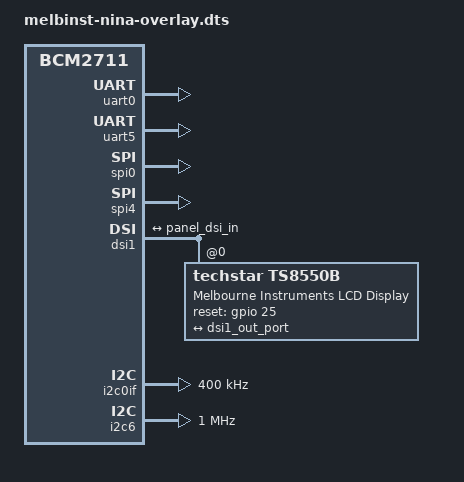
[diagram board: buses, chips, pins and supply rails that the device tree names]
/dts-v1/;
/plugin/;

#include <dt-bindings/pinctrl/bcm2835.h>
#include <dt-bindings/clock/bcm2835.h>

/ {
    compatible = "bcrm,bcm2711";

        /* GPIO */
        fragment@0 {
                target = <&gpio>;
                __overlay__ {
                        pinctrl-names = "default";
                        pinctrl-0 = <&spi4_cs_pins &spi4_pins &fpga_pins &analog_input_pins>;                      
                        spi0_cs_pins: spi0_cs_pins {
                                brcm,pins = <8>;
                                brcm,function = <1>;    // GPIO out
                        };
                        spi4_cs_pins: spi4_cs_pins {
                                brcm,pins = <4>;
                                brcm,function = <1>;    // GPIO out
                        };
                        spi4_pins: spi4_pins {
                                brcm,pins = <5 6 7>;
                                brcm,function = <BCM2835_FSEL_ALT3>;
                        };                        
                        lcd_panel_pins: lcd_panel_pins {
                                pins = "gpio25";
                                function = "alt1";
                                bias-pull-up;
                                output-low;
                        };                      
                        fpga_pins: fpga_pins {
                                brcm,pins = <2 3 16 17 18 20 21 24>;
                                brcm,function = <1 1 1 1 0 0 0 1>;
                                brcm,pull = <0 0 0 0 1 2 2 0>;
                        };
                        analog_input_pins: analog_input_pins {
                                brcm,pins = <26>;
                                brcm,function = <0>;    // GPIO in
                        };
                };                                
        };

        /* UART 0 - used for debugging */
        fragment@1 {
                target = <&uart1_pins>;
                __dormant__ {
                        brcm,pins = <14 15>;
                        brcm,function = <4>;    // ALT0
                        brcm,pull = <0 2>;
                };
        };	
        fragment@2 {
                target = <&uart0>;
                __overlay__ {
                        pinctrl-names = "default";
                        pinctrl-0 = <&uart0_pins>;
                        status = "okay";
                };
        };

        /* UART 5 - MIDI */
        fragment@3 {
                target = <&uart5_pins>;
                __overlay__ {
                        brcm,pins = <12 13>;
                        brcm,pull = <0 0>;
                };
        };	
        fragment@4 {
                target = <&uart5>;
                __overlay__ {
                        pinctrl-names = "default";
                        pinctrl-0 = <&uart5_pins>;
                        status = "okay";
                };
        };
        fragment@5 {
                target-path = "/clocks";
                __overlay__ {
                        midi_clk: midi_clk {
                        compatible = "fixed-clock";
                        #clock-cells = <0>;
                        clock-output-names = "uart5_pclk";
                        clock-frequency = <58982400>;
                        };
                };
        };
        fragment@6 {
                target = <&uart5>;
                __overlay__ {
                        clocks = <&midi_clk>,
                        <&clocks BCM2835_CLOCK_VPU>;
                        dmas = <&dma 21>, <&dma 22>;
                        dma-names = "tx", "rx";
                };
        };         

        /* SPI0 */
	fragment@7 {
		target = <&spi0_cs_pins>;
		__overlay__ {
			brcm,pins = <8>;
		};
	};
        fragment@8 {
                target = <&spi0>;
                __overlay__ {
                        compatible = "brcm,rtdm-bcm2835-spi";
                        id-spi0;
                        pinctrl-0 = <&spi0_pins &spi0_cs_pins>;
                        cs-gpios = <&gpio 8 1>;
                        status = "okay";
                };
        };

        /* SPI4 */
	fragment@9 {
		target = <&spi4_cs_pins>;
		__overlay__ {
			brcm,pins = <4>;
		};
	};        
        fragment@10 {
                target = <&spi4>;
                __overlay__ {
                        compatible = "brcm,rtdm-bcm2835-spi";
                        id-spi4;
                        pinctrl-0 = <&spi4_pins &spi4_cs_pins>;
                        cs-gpios = <&gpio 4 1>;
                        dmas = <&dma 19>, <&dma 20>;
                        dma-names = "tx", "rx";
                        status = "okay";
                };
        };         

        /* DSI LCD */
        fragment@11 {
                target=<&dsi1>;
                __overlay__ {
                        status = "okay";
                        #address-cells = <1>;
                        #size-cells = <0>;

                        port {
                                dsi1_out_port: endpoint {
                                remote-endpoint = <&panel_dsi_in>;
                                };
                        };
                        lcd_panel: panel@0 {
                                compatible = "techstar,ts8550b";
                                reg=<0>;
                                pinctrl-names = "default";
                                pinctrl-0 = <&lcd_panel_pins>;
                                label= "Melbourne Instruments LCD Display";
                                reset-gpios = <&gpio 25 0>;     // Active high
                                vc4_dsi = <&dsi1>;
                                port {
                                        panel_dsi_in: endpoint {
                                                remote-endpoint = <&dsi1_out_port>;
                                        };
                                };
                        };
                };
        };

        /* I2C0 */
        fragment@12 {
                target = <&i2c0_pins>;
                __overlay__ {
                        brcm,pins = <44 45>;
                        brcm,function = <5>; /* alt1 */
                };
        };	
        fragment@13 {
                target = <&i2c0if>;
                __overlay__ {
                        status = "okay";
                        pinctrl-names = "default";
                        pinctrl-0 = <&i2c0_pins>;
                        clock-frequency = <400000>;
                };
        };
        fragment@14 {
                target = <&i2c0mux>;
                __overlay__ {
                        status = "disabled";
                };
        };
        fragment@15 {
                target-path = "/aliases";
                __overlay__ {
                        i2c0 = "/soc/i2c@7e205000";
                };
	};

        /* I2C6 */
        fragment@16 {
                target = <&i2c6_pins>;
                __overlay__ {
                        brcm,pins = <22 23>;
                };
        };        
        fragment@17 {
                target = <&i2c6>;
                frag0: __overlay__ {
                        status = "okay";
                        pinctrl-names = "default";
                        pinctrl-0 = <&i2c6_pins>;
                        clock-frequency = <1000000>;
                };
        };            

        /* Disable HDMI ports */
        fragment@18 {
                target = <&hdmi0>;
                __overlay__ {
                        status = "disabled";
                };
        };
        fragment@19 {
                target = <&hdmi1>;
                __overlay__ {
                        status = "disabled";
                };
        };

        /* Disable I2C1 */
        fragment@20 {
                target = <&i2c1>;
                __overlay__ {
                        status = "disabled";
                };
        };               
};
